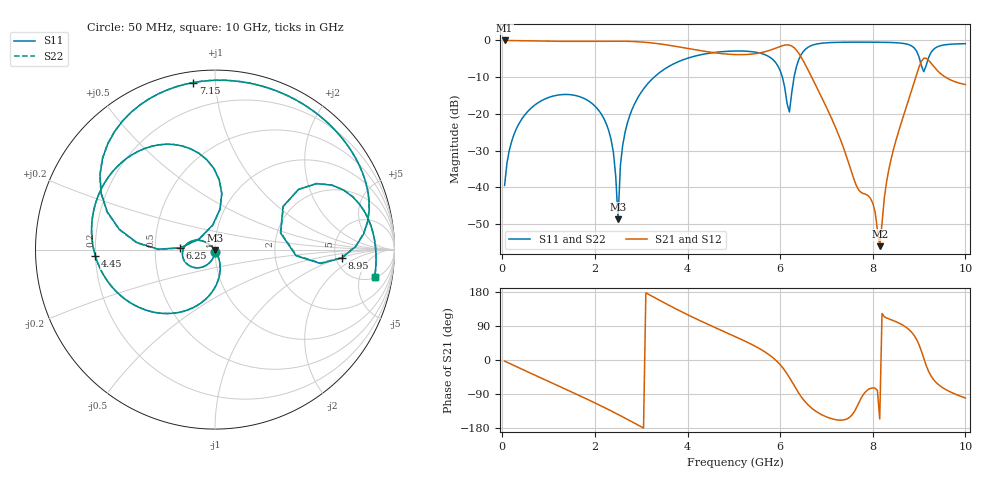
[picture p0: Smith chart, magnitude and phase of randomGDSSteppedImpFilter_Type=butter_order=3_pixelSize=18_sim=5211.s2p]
! freq	dB(S11)	phase(S11)	dB(S12)	phase(S12)
!  dB(S21)	phase(S21)	dB(S22)	phase(S22)
!S-par simulation data
#  GHz  S  DB  R 50
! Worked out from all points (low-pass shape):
!   200 points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, 50 MHz to 10 GHz, reference 50 ohm
!   highest |S21| = 0.00 dB at 50 MHz (marker M1); lowest = -56.0 dB at 8.15 GHz (marker M2)
!   |S21| within 3 dB of the highest: start of sweep to 4.391 GHz; 5.692 GHz to 6.373 GHz (680.6 MHz wide, 11.3 % of centre)
!   lowest |S11| = -48.7 dB at 2.5 GHz (marker M3), VSWR 1.01, Z = 49.9 - j0.362 ohm
!   |S11| at or under -10 dB: start of sweep to 3.279 GHz; 6.049 GHz to 6.3 GHz (251.5 MHz wide, 4.07 % of centre)
!   |S22| runs from -48.0 to -0.5 dB; largest |S21 - S12| = 0
!   S11 on the Smith chart (normalised r, x): 50 MHz: 1.00, -0.02; 4.45 GHz: 0.20, -0.03; 6.25 GHz: 0.68, +0.01; 7.15 GHz: 0.06, +0.88; 8.95 GHz: 5.63, -1.06; 10 GHz: 5.11, -8.55
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0.05  -39.43 -92.4  -0.00 -2.9  -0.00 -2.9  -39.43 -92.4
0.55  -19.32 -121.8  -0.09 -31.4  -0.09 -31.4  -19.32 -121.8
1.75  -15.69 170.9  -0.24 -98.7  -0.24 -98.7  -15.69 171.0
2.3  -24.61 140.1  -0.18 -131.2  -0.18 -131.2  -24.60 140.5
2.4  -30.55 136.5  -0.18 -137.4  -0.18 -137.4  -30.54 137.2
2.5  -48.69 -100.2  -0.18 -143.7  -0.18 -143.7  -48.02 -104.6
2.55  -34.03 -65.8  -0.19 -146.9  -0.19 -146.9  -34.01 -67.0
2.7  -22.52 -69.6  -0.23 -156.5  -0.23 -156.5  -22.52 -70.0
3.4  -8.71 -113.9  -0.94 157.3  -0.94 157.3  -8.72 -114.0
4.45  -3.52 -176.8  -3.12 93.6  -3.12 93.6  -3.52 -176.8
5.05  -2.87 150.9  -3.85 60.6  -3.85 60.6  -2.87 150.9
5.75  -4.35 107.6  -2.79 14.9  -2.79 14.9  -4.35 107.6
6.2  -19.47 145.5  -1.27 -46.3  -1.27 -46.3  -19.57 145.8
6.25  -14.26 177.0  -1.51 -56.5  -1.51 -56.5  -14.29 177.3
6.7  -1.27 130.3  -10.48 -128.9  -10.48 -128.9  -1.27 130.5
7.15  -0.55 97.4  -22.33 -156.2  -22.33 -156.2  -0.55 97.5
8  -0.47 54.7  -44.29 -73.7  -44.29 -73.7  -0.47 54.8
8.15  -0.49 47.6  -55.98 -155.6  -55.98 -155.6  -0.49 47.7
8.35  -0.54 37.9  -34.93 108.4  -34.93 108.4  -0.54 38.0
8.95  -3.01 -3.8  -9.09 53.3  -9.09 53.3  -3.00 -3.6
9.25  -3.43 33.0  -6.08 -40.4  -6.08 -40.4  -3.42 33.1
10  -0.89 -9.9  -12.00 -100.4  -12.00 -100.4  -0.89 -9.8
